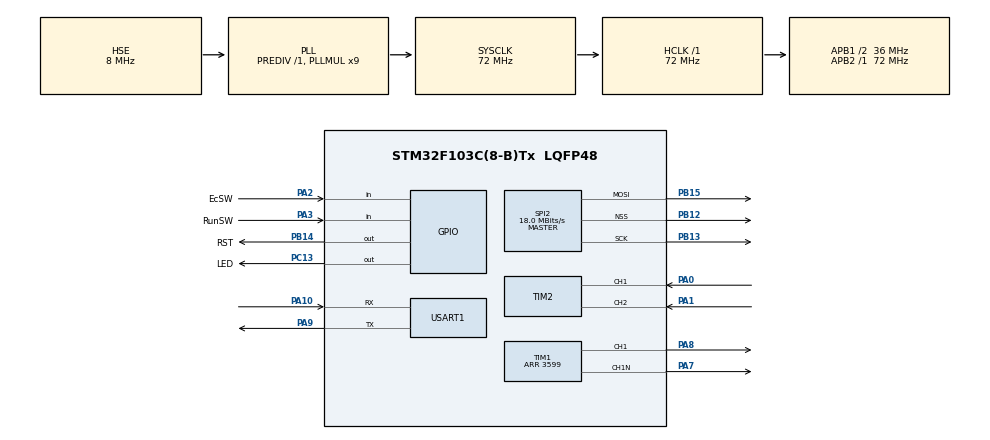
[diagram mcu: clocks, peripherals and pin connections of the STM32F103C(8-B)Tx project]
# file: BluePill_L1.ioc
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Mcu.Family=STM32F1
Mcu.Name=STM32F103C(8-B)Tx
Mcu.Package=LQFP48
NVIC.PriorityGroup=NVIC_PRIORITYGROUP_4
PA0-WKUP.Signal=S_TIM2_CH1_ETR
PA1.Signal=S_TIM2_CH2
PA10.Mode=Asynchronous
PA10.Signal=USART1_RX
PA13.Mode=Serial_Wire
PA13.Signal=SYS_JTMS-SWDIO
PA14.Mode=Serial_Wire
PA14.Signal=SYS_JTCK-SWCLK
PA2.GPIO_Label=EcSW
PA2.Signal=GPIO_Input
PA3.GPIO_Label=RunSW
PA3.Signal=GPIO_Input
PA7.Mode=PWM Generation1 CH1 CH1N
PA7.Signal=TIM1_CH1N
PA8.Signal=S_TIM1_CH1
PA9.Mode=Asynchronous
PA9.Signal=USART1_TX
PB12.Mode=NSS_Signal_Hard_Output
PB12.Signal=SPI2_NSS
PB13.Mode=TX_Only_Simplex_Unidirect_Master
PB13.Signal=SPI2_SCK
PB14.GPIO_Label=RST
PB14.Signal=GPIO_Output
PB15.Mode=TX_Only_Simplex_Unidirect_Master
PB15.Signal=SPI2_MOSI
PC13-TAMPER-RTC.GPIO_Label=LED
PC13-TAMPER-RTC.GPIO_Speed=GPIO_SPEED_FREQ_HIGH
PC13-TAMPER-RTC.PinState=GPIO_PIN_SET
PC13-TAMPER-RTC.Signal=GPIO_Output
PD0-OSC_IN.Mode=HSE-External-Oscillator
PD0-OSC_IN.Signal=RCC_OSC_IN
PD1-OSC_OUT.Mode=HSE-External-Oscillator
PD1-OSC_OUT.Signal=RCC_OSC_OUT
ProjectManager.HeapSize=0x200
ProjectManager.StackSize=0x400
ProjectManager.TargetToolchain=STM32CubeIDE
RCC.AHBFreq_Value=72000000
RCC.APB1CLKDivider=RCC_HCLK_DIV2
RCC.APB1Freq_Value=36000000
RCC.APB1TimFreq_Value=72000000
RCC.APB2Freq_Value=72000000
RCC.APB2TimFreq_Value=72000000
RCC.HCLKFreq_Value=72000000
RCC.PLLMUL=RCC_PLL_MUL9
RCC.PLLSourceVirtual=RCC_PLLSOURCE_HSE
RCC.SYSCLKFreq_VALUE=72000000
RCC.SYSCLKSource=RCC_SYSCLKSOURCE_PLLCLK
RCC.USBFreq_Value=72000000
SH.S_TIM1_CH1.0=TIM1_CH1,PWM Generation1 CH1 CH1N
SH.S_TIM2_CH1_ETR.0=TIM2_CH1,Encoder_Interface
SH.S_TIM2_CH2.0=TIM2_CH2,Encoder_Interface
SPI2.CalculateBaudRate=18.0 MBits/s
SPI2.Direction=SPI_DIRECTION_2LINES
SPI2.Mode=SPI_MODE_MASTER
SPI2.VirtualNSS=VM_NSSHARD
SPI2.VirtualType=VM_MASTER
TIM1.Channel-PWM\ Generation1\ CH1\ CH1N=TIM_CHANNEL_1
TIM1.DeadTime=72
TIM1.Period=3599
TIM2.EncoderMode=TIM_ENCODERMODE_TI12
USART1.VirtualMode=VM_ASYNC
VP_TIM1_VS_ClockSourceINT.Mode=Internal
board=custom

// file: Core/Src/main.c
/* USER CODE BEGIN Header */
/**
  ******************************************************************************
  * @file           : main.c
  * @brief          : Main program body
  ******************************************************************************
  * @attention
  *
  * Copyright (c) 2026 STMicroelectronics.
  * All rights reserved.
  *
  * This software is licensed under terms that can be found in the LICENSE file
  * in the root directory of this software component.
  * If no LICENSE file comes with this software, it is provided AS-IS.
  *
  ******************************************************************************
  */
/* USER CODE END Header */
#include "main.h"
#include "spi.h"
#include "tim.h"
#include "usart.h"
#include "gpio.h"

/* USER CODE BEGIN Includes */
#include <stdio.h>
#include "scheduler.h"
#include "debug_module.h"
#include "pwm_driver.h"
#include "pwm_module.h"
#include "encoder_driver.h"
#include "encoder_module.h"
#include "button_driver.h"
#include "button_module.h"
#include "display_module.h"
/* USER CODE END Includes */

void SystemClock_Config(void);

int main(void)
{

  /* MCU Configuration--------------------------------------------------------*/

  /* Reset of all peripherals, Initializes the Flash interface and the Systick. */
  HAL_Init();

  /* Configure the system clock */
  SystemClock_Config();

  /* Initialize all configured peripherals */
  MX_GPIO_Init();
  MX_USART1_UART_Init();
  MX_TIM1_Init();
  MX_TIM2_Init();
  MX_SPI2_Init();
  /* USER CODE BEGIN 2 */
  PWM_Init();
  Encoder_Init();
  Scheduler_Init();
  Button_Init();
  Scheduler_AddTask(Button_Task, 50);
  Scheduler_AddTask(Encoder_Task, 10);
  Scheduler_AddTask(Debug_Task, 50);
  Display_Init();
  Scheduler_AddTask(Display_Task, 100);

//  printf("Hello\r\n");

  /* USER CODE END 2 */

  /* Infinite loop */
  /* USER CODE BEGIN WHILE */
  while (1)
  {
	  Scheduler_Run();

    /* USER CODE END WHILE */

  }
}

void SystemClock_Config(void)
{
  RCC_OscInitTypeDef RCC_OscInitStruct = {0};
  RCC_ClkInitTypeDef RCC_ClkInitStruct = {0};

  /** Initializes the RCC Oscillators according to the specified parameters
  * in the RCC_OscInitTypeDef structure.
  */
  RCC_OscInitStruct.OscillatorType = RCC_OSCILLATORTYPE_HSE;
  RCC_OscInitStruct.HSEState = RCC_HSE_ON;
  RCC_OscInitStruct.HSEPredivValue = RCC_HSE_PREDIV_DIV1;
  RCC_OscInitStruct.HSIState = RCC_HSI_ON;
  RCC_OscInitStruct.PLL.PLLState = RCC_PLL_ON;
  RCC_OscInitStruct.PLL.PLLSource = RCC_PLLSOURCE_HSE;
  RCC_OscInitStruct.PLL.PLLMUL = RCC_PLL_MUL9;
  if (HAL_RCC_OscConfig(&RCC_OscInitStruct) != HAL_OK)
  {
    Error_Handler();
  }

  /** Initializes the CPU, AHB and APB buses clocks
  */
  RCC_ClkInitStruct.ClockType = RCC_CLOCKTYPE_HCLK|RCC_CLOCKTYPE_SYSCLK
                              |RCC_CLOCKTYPE_PCLK1|RCC_CLOCKTYPE_PCLK2;
  RCC_ClkInitStruct.SYSCLKSource = RCC_SYSCLKSOURCE_PLLCLK;
  RCC_ClkInitStruct.AHBCLKDivider = RCC_SYSCLK_DIV1;
  RCC_ClkInitStruct.APB1CLKDivider = RCC_HCLK_DIV2;
  RCC_ClkInitStruct.APB2CLKDivider = RCC_HCLK_DIV1;

  if (HAL_RCC_ClockConfig(&RCC_ClkInitStruct, FLASH_LATENCY_2) != HAL_OK)
  {
    Error_Handler();
  }
}

/* USER CODE BEGIN 4 */
int __io_putchar(int ch)
{
    HAL_UART_Transmit(&huart1, (uint8_t*)&ch, 1, HAL_MAX_DELAY);
    return ch;
}
/* USER CODE END 4 */

void Error_Handler(void)
{
  __disable_irq();
  while (1)
  {
  }
}
